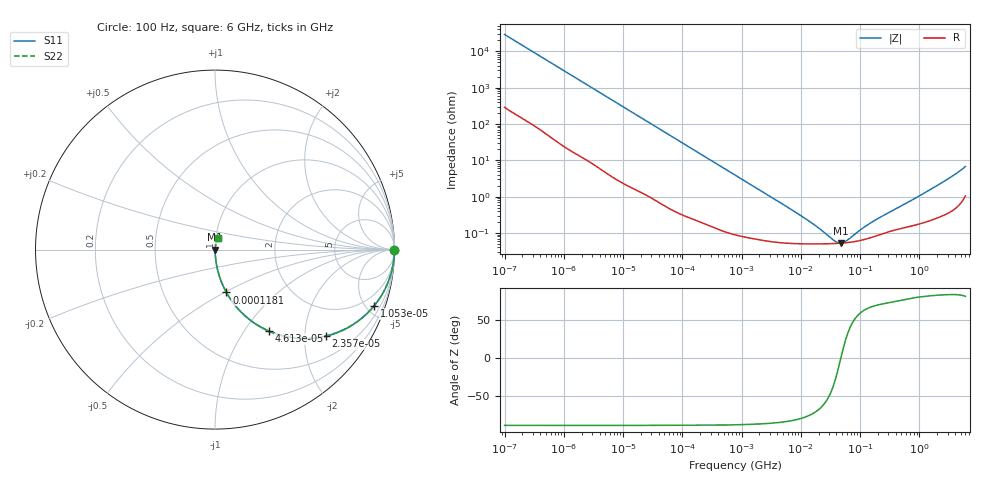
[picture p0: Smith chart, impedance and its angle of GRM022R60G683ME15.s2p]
!Murata Part Number: GRM022R60G683ME15
!These Parameters are Measured in Series Mode Connection
!Data Generated on Mar 30, 2021
!  o--ll--o
!Port1  Port2
!  o------o
!Operation Temp=25[degC], DC Bias Voltage=0[V]
!Freq. Start=100[Hz] Stop=6[GHz] 401[Steps]
# Hz S RI R 50
!Freq.(Hz) S11(Real) S11(Imag) S21(Real) S21(Imag) S12(Real) S12(Imag) S22(Real) S22(Imag)
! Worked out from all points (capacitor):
!   401 points, 100 Hz to 6 GHz, reference 50 ohm
!   read as one part in series: C = 54.7 nF near 109 Hz
!   lowest |Z| = 52.3 mohm at 47.65 MHz (marker M1)
!   series resonance near 47.55 MHz, so ESL is about 210 pH
!   S11 on the Smith chart (normalised r, x): 100 Hz: open; 10.53 kHz: 1.04, -5.66; 23.57 kHz: 1.02, -2.54; 46.13 kHz: 1.01, -1.30; 118.1 kHz: 1.01, -0.51; 6 GHz: 1.02, +0.13
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100  1 -0.00344  4.58e-05 0.00344  4.58e-05 0.00344  1 -0.00344
627  0.9994 -0.0213  0.00064 0.0213  0.00064 0.0213  0.9994 -0.0213
2008  0.9949 -0.0676  0.00515 0.0676  0.00515 0.0676  0.9949 -0.0676
4702  0.9744 -0.1541  0.0256 0.1541  0.0256 0.1541  0.9744 -0.1541
10527  0.8871 -0.3126  0.1129 0.3126  0.1129 0.3126  0.8871 -0.3126
15752  0.7802 -0.41  0.2198 0.41  0.2198 0.41  0.7802 -0.41
23569  0.616 -0.4819  0.384 0.4819  0.384 0.4819  0.616 -0.4819
40335  0.3576 -0.4747  0.6424 0.4747  0.6424 0.4747  0.3576 -0.4747
46134  0.2993 -0.4534  0.7007 0.4534  0.7007 0.4534  0.2993 -0.4534
72189  0.1505 -0.3528  0.8495 0.3528  0.8495 0.3528  0.1505 -0.3528
118133  0.0635 -0.2385  0.9365 0.2385  0.9365 0.2385  0.0635 -0.2385
276587  0.0134 -0.108  0.9866 0.108  0.9866 0.108  0.0134 -0.108
774597  0.00243 -0.0393  0.9976 0.0393  0.9976 0.0393  0.00243 -0.0393
6075234  0.000544 -0.00501  0.9995 0.00501  0.9995 0.00501  0.000544 -0.00501
1.555665e7  0.000502 -0.00178  0.9995 0.00178  0.9995 0.00178  0.000502 -0.00178
3.64232e7  0.000511 -0.00035  0.9995 0.00035  0.9995 0.00035  0.000511 -0.00035
4.764863e7  0.000523 2.8e-06  0.9995 -2.8e-06  0.9995 -2.8e-06  0.000523 2.8e-06
5.960426e7  0.00054 0.000293  0.9995 -0.000293  0.9995 -0.000293  0.00054 0.000293
1.459435e8  0.000731 0.00167  0.9993 -0.00167  0.9993 -0.00167  0.000731 0.00167
3.124326e8  0.0011 0.00354  0.9989 -0.00354  0.9989 -0.00354  0.0011 0.00354
1.95892e9  0.00291 0.0195  0.9971 -0.0195  0.9971 -0.0195  0.00291 0.0195
6e9  0.0146 0.065  0.9854 -0.065  0.9854 -0.065  0.0146 0.065
